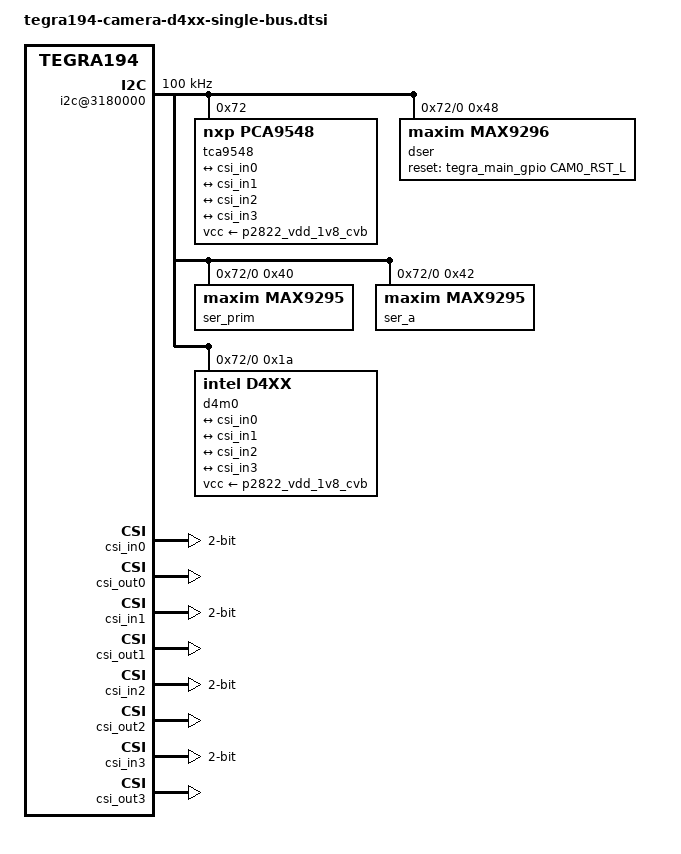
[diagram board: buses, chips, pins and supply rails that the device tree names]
#include "dt-bindings/clock/tegra194-clock.h"

#define CAM0_RST_L	TEGRA194_MAIN_GPIO(H, 3)
#define CAMERA_I2C_MUX_BUS(x) (0x1E + x)


/ {
	tegra-capture-vi {
		num-channels = <4>;

		ports {
			#address-cells = <0x1>;
			#size-cells = <0x0>;

			port@0 {
				reg = <0>;
				status = "ok";

				vi_in0: endpoint {
					status = "ok";
					port-index = <0>;
					bus-width = <2>;
					vc-id = <0>;
					remote-endpoint = <&csi_out0>;
				};
			};
			port@1 {
				reg = <1>;
				status = "ok";

				vi_in1: endpoint {
					status = "ok";
					vc-id = <1>;
					port-index = <0>;
					bus-width = <2>;
					remote-endpoint = <&csi_out1>;
				};
			};
			port@2 {
				reg = <2>;
				status = "ok";

				vi_in2: endpoint {
					status = "ok";
					port-index = <0>;
					bus-width = <2>;
					vc-id = <2>;
					remote-endpoint = <&csi_out2>;
				};
			};
			port@3 {
				reg = <3>;
				status = "ok";

				vi_in3: endpoint {
					status = "ok";
					port-index = <0>;
					bus-width = <2>;
					vc-id = <3>;
					remote-endpoint = <&csi_out3>;
				};
			};
		};
	};

	i2c@3180000 {
		status = "ok";
		clock-frequency = <100000>;
		tca9548@72 {
			status = "ok";
			reg = <0x72>;
			compatible = "nxp,pca9548";
			#address-cells = <1>;
			#size-cells = <0>;
			skip_mux_detect = "yes";
			vcc-supply = <&p2822_vdd_1v8_cvb>;
			/*vcc-pullup-supply = <&battery_reg>;*/
			force_bus_start = <CAMERA_I2C_MUX_BUS(0)>;
			vcc_lp = "vcc";
			i2c@0 {
				reg = <0x0>;
				#address-cells = <0x1>;
				i2c-mux,deselect-on-exit;
				#size-cells = <0x0>;

				dser: max9296@48 {
					status = "ok";
					reg = <0x48>;
					compatible = "maxim,max9296";
					csi-mode = "2x4";
					max-src = <1>;
					reset-gpios = <&tegra_main_gpio CAM0_RST_L GPIO_ACTIVE_HIGH>;
				};

				ser_prim: max9295_prim@40 {
					status = "ok";
					reg = <0x40>;
					compatible = "maxim,max9295";
					is-prim-ser;
				};

				ser_a: max9295_a@42 {
					compatible = "maxim,max9295";
					reg = <0x42>;
					maxim,gmsl-dser-device = <&dser>;
				};

				d4m0: d4m@1a {
					status = "ok";
					def-addr = <0x10>;
					reg = <0x1a>;
					compatible = "intel,d4xx";
					vcc-supply = <&p2822_vdd_1v8_cvb>;
					maxim,gmsl-ser-device = <&ser_a>;
					maxim,gmsl-dser-device = <&dser>;
					cam-type = "DS5";
					ports {
						#address-cells = <1>;
						#size-cells = <0>;

						port@0 {
							reg = <0>;
							cam-type = "Depth";
							d4m0_depth_out: endpoint {
								port-index = <0>;
								bus-width = <2>;
								remote-endpoint = <&csi_in0>;
								vc-id = <0>;
							};
							mode0 {
								pixel_t = "grey_y16";
								num_lanes = "2";
								csi_pixel_bit_depth = "16";
								active_w = "128";
								active_h = "0";
								tegra_sinterface = "serial_a";
								mclk_khz = "24000";
								pix_clk_hz = "74250000";
								line_length = "1280"; /* 2200 */
								embedded_metadata_height = "1";
							};
							gmsl-link {
								src-csi-port = "b";
								dst-csi-port = "a";
								serdes-csi-link = "a";
								csi-mode = "1x4";
								st-vc = <0>;
								vc-id = <0>;
								num-lanes = <2>;
							};
						};
						port@1 {
							reg = <1>;
							cam-type = "RGB";
							d4m0_rgb_out: endpoint {
								port-index = <0>;
								bus-width = <2>;
								remote-endpoint = <&csi_in1>;
								vc-id = <1>;
							};
							mode0 {
								pixel_t = "grey_y16";
								num_lanes = "2";
								csi_pixel_bit_depth = "16";
								active_w = "128";
								active_h = "0";
								tegra_sinterface = "serial_e";
								mclk_khz = "24000";
								pix_clk_hz = "74250000";
								line_length = "1280"; /* 2200 */
								embedded_metadata_height = "1";
							};
							gmsl-link {
								src-csi-port = "b";
								dst-csi-port = "a";
								serdes-csi-link = "a";
								csi-mode = "1x4";
								st-vc = <0>;
								vc-id = <1>;
								num-lanes = <2>;
							};
						};
						port@2 {
							reg = <2>;
							cam-type = "Y8";
							d4m0_y8_out: endpoint {
								port-index = <0>;
								bus-width = <2>;
								remote-endpoint = <&csi_in2>;
								vc-id = <2>;
							};
							mode0 {
								pixel_t = "grey_y16";
								num_lanes = "2";
								csi_pixel_bit_depth = "16";
								active_w = "128";
								active_h = "0";
								tegra_sinterface = "serial_b";
								mclk_khz = "24000";
								pix_clk_hz = "74250000";
								line_length = "1280"; /* 2200 */
								embedded_metadata_height = "1";
							};
							gmsl-link {
								src-csi-port = "b";
								dst-csi-port = "a";
								serdes-csi-link = "a";
								csi-mode = "1x4";
								st-vc = <0>;
								vc-id = <2>;
								num-lanes = <2>;
							};
						};
						port@3 {
							reg = <3>;
							cam-type = "IMU";
							d4m0_imu_out: endpoint {
								port-index = <0>;
								bus-width = <2>;
								remote-endpoint = <&csi_in3>;
								vc-id = <3>;
							};
							mode0 {
								pixel_t = "grey_y16";
								num_lanes = "2";
								csi_pixel_bit_depth = "16";
								active_w = "128";
								active_h = "0";
								tegra_sinterface = "serial_c";
								mclk_khz = "24000";
								pix_clk_hz = "74250000";
								line_length = "1280"; /* 2200 */
								embedded_metadata_height = "0";
							};
							gmsl-link {
								src-csi-port = "b";
								dst-csi-port = "a";
								serdes-csi-link = "a";
								csi-mode = "1x4";
								st-vc = <0>;
								vc-id = <3>;
								num-lanes = <2>;
							};
						};
					};
				};
			};
		};
	};

	host1x@13e00000 {
		nvcsi@15a00000 {
			#address-cells = <0x1>;
			#size-cells = <0x0>;

			num-channels = <4>;

			channel@0 {
				reg = <0x0>;
				status = "ok";

				ports {
					#address-cells = <0x1>;
					#size-cells = <0x0>;

					port@0 {
						reg = <0>;
						status = "ok";

						csi_in0: endpoint@0 {
							status = "ok";
							port-index = <0>;
							bus-width = <2>;
							remote-endpoint = <&d4m0_depth_out>;
						};
					};
					port@1 {
						reg = <1>;
						status = "ok";
						csi_out0: endpoint@1 {
							status = "ok";
							remote-endpoint = <&vi_in0>;
						};
					};

				};
			};
			channel@1 {
				reg = <0x1>;
				status = "ok";

				ports {
					#address-cells = <0x1>;
					#size-cells = <0x0>;

					port@0 {
						reg = <0>;
						status = "ok";

						csi_in1: endpoint@2 {
							status = "ok";
							port-index = <0>;
							bus-width = <2>;
							remote-endpoint = <&d4m0_rgb_out>;
						};
					};
					port@1 {
						reg = <1>;
						status = "ok";
						csi_out1: endpoint@3 {
							status = "ok";
							remote-endpoint = <&vi_in1>;
						};
					};

				};
			};
			channel@2 {
				reg = <0x2>;
				status = "ok";

				ports {
					#address-cells = <0x1>;
					#size-cells = <0x0>;

					port@0 {
						reg = <0>;
						status = "ok";

						csi_in2: endpoint@4 {
							status = "ok";
							port-index = <0>;
							bus-width = <2>;
							remote-endpoint = <&d4m0_y8_out>;
						};
					};
					port@1 {
						reg = <1>;
						status = "ok";
						csi_out2: endpoint@5 {
							status = "ok";
							remote-endpoint = <&vi_in2>;
						};
					};
				};
			};
			channel@3 {
				reg = <0x3>;
				status = "ok";

				ports {
					#address-cells = <0x1>;
					#size-cells = <0x0>;

					port@0 {
						reg = <0>;
						status = "ok";

						csi_in3: endpoint@6 {
							status = "ok";
							port-index = <0>;
							bus-width = <2>;
							remote-endpoint = <&d4m0_imu_out>;
						};
					};
					port@1 {
						reg = <1>;
						status = "ok";
						csi_out3: endpoint@7 {
							status = "ok";
							remote-endpoint = <&vi_in3>;
						};
					};
				};
			};
		};
	};
};
